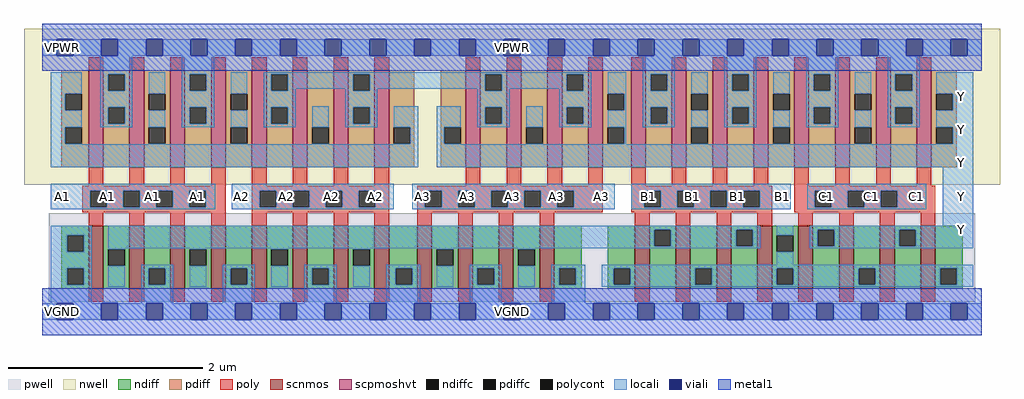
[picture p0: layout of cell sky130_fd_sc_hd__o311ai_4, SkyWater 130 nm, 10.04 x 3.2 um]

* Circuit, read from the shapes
.subckt sky130_fd_sc_hd__o311ai_4 A1 A2 A3 B1 C1 VGND VNB VPB VPWR Y
XM1 n1 A1 VGND VNB sky130_fd_pr__nfet_01v8 w=0.65 l=0.15 m=4
XM2 n1 A2 VGND VNB sky130_fd_pr__nfet_01v8 w=0.65 l=0.15 m=4
XM3 n1 A3 VGND VNB sky130_fd_pr__nfet_01v8 w=0.65 l=0.15 m=4
XM4 n1 B1 n2 VNB sky130_fd_pr__nfet_01v8 w=0.65 l=0.15 m=4
XM5 Y C1 n2 VNB sky130_fd_pr__nfet_01v8 w=0.65 l=0.15 m=4
XM6 VPWR A1 n3 VPB sky130_fd_pr__pfet_01v8_hvt w=1 l=0.15 m=4
XM7 n4 A2 n3 VPB sky130_fd_pr__pfet_01v8_hvt w=1 l=0.15 m=4
XM8 n4 A3 Y VPB sky130_fd_pr__pfet_01v8_hvt w=1 l=0.15 m=4
XM9 VPWR B1 Y VPB sky130_fd_pr__pfet_01v8_hvt w=1 l=0.15 m=4
XM10 VPWR C1 Y VPB sky130_fd_pr__pfet_01v8_hvt w=1 l=0.15 m=4
.ends

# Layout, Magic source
magic
tech sky130A
magscale 1 2
<< nwell >>
rect -38 261 1970 582
<< pwell >>
rect 13 21 1919 203
rect 25 -17 59 21
<< scnmos >>
rect 95 47 125 177
rect 179 47 209 177
rect 263 47 293 177
rect 347 47 377 177
rect 431 47 461 177
rect 515 47 545 177
rect 599 47 629 177
rect 683 47 713 177
rect 771 47 801 177
rect 855 47 885 177
rect 939 47 969 177
rect 1023 47 1053 177
rect 1219 47 1249 177
rect 1303 47 1333 177
rect 1387 47 1417 177
rect 1471 47 1501 177
rect 1555 47 1585 177
rect 1639 47 1669 177
rect 1723 47 1753 177
rect 1807 47 1837 177
<< scpmoshvt >>
rect 95 297 125 497
rect 179 297 209 497
rect 263 297 293 497
rect 347 297 377 497
rect 431 297 461 497
rect 515 297 545 497
rect 599 297 629 497
rect 683 297 713 497
rect 871 297 901 497
rect 955 297 985 497
rect 1039 297 1069 497
rect 1123 297 1153 497
rect 1211 297 1241 497
rect 1295 297 1325 497
rect 1379 297 1409 497
rect 1463 297 1493 497
rect 1547 297 1577 497
rect 1631 297 1661 497
rect 1715 297 1745 497
rect 1799 297 1829 497
<< ndiff >>
rect 39 157 95 177
rect 39 123 51 157
rect 85 123 95 157
rect 39 89 95 123
rect 39 55 51 89
rect 85 55 95 89
rect 39 47 95 55
rect 125 129 179 177
rect 125 95 135 129
rect 169 95 179 129
rect 125 47 179 95
rect 209 89 263 177
rect 209 55 219 89
rect 253 55 263 89
rect 209 47 263 55
rect 293 129 347 177
rect 293 95 303 129
rect 337 95 347 129
rect 293 47 347 95
rect 377 89 431 177
rect 377 55 387 89
rect 421 55 431 89
rect 377 47 431 55
rect 461 129 515 177
rect 461 95 471 129
rect 505 95 515 129
rect 461 47 515 95
rect 545 89 599 177
rect 545 55 555 89
rect 589 55 599 89
rect 545 47 599 55
rect 629 129 683 177
rect 629 95 639 129
rect 673 95 683 129
rect 629 47 683 95
rect 713 89 771 177
rect 713 55 727 89
rect 761 55 771 89
rect 713 47 771 55
rect 801 129 855 177
rect 801 95 811 129
rect 845 95 855 129
rect 801 47 855 95
rect 885 89 939 177
rect 885 55 895 89
rect 929 55 939 89
rect 885 47 939 55
rect 969 129 1023 177
rect 969 95 979 129
rect 1013 95 1023 129
rect 969 47 1023 95
rect 1053 89 1109 177
rect 1053 55 1063 89
rect 1097 55 1109 89
rect 1053 47 1109 55
rect 1163 89 1219 177
rect 1163 55 1175 89
rect 1209 55 1219 89
rect 1163 47 1219 55
rect 1249 169 1303 177
rect 1249 135 1259 169
rect 1293 135 1303 169
rect 1249 47 1303 135
rect 1333 89 1387 177
rect 1333 55 1343 89
rect 1377 55 1387 89
rect 1333 47 1387 55
rect 1417 169 1471 177
rect 1417 135 1427 169
rect 1461 135 1471 169
rect 1417 47 1471 135
rect 1501 157 1555 177
rect 1501 123 1511 157
rect 1545 123 1555 157
rect 1501 89 1555 123
rect 1501 55 1511 89
rect 1545 55 1555 89
rect 1501 47 1555 55
rect 1585 169 1639 177
rect 1585 135 1595 169
rect 1629 135 1639 169
rect 1585 47 1639 135
rect 1669 89 1723 177
rect 1669 55 1679 89
rect 1713 55 1723 89
rect 1669 47 1723 55
rect 1753 169 1807 177
rect 1753 135 1763 169
rect 1797 135 1807 169
rect 1753 47 1807 135
rect 1837 89 1893 177
rect 1837 55 1847 89
rect 1881 55 1893 89
rect 1837 47 1893 55
<< pdiff >>
rect 39 448 95 497
rect 39 414 47 448
rect 81 414 95 448
rect 39 380 95 414
rect 39 346 47 380
rect 81 346 95 380
rect 39 297 95 346
rect 125 489 179 497
rect 125 455 135 489
rect 169 455 179 489
rect 125 421 179 455
rect 125 387 135 421
rect 169 387 179 421
rect 125 297 179 387
rect 209 448 263 497
rect 209 414 219 448
rect 253 414 263 448
rect 209 380 263 414
rect 209 346 219 380
rect 253 346 263 380
rect 209 297 263 346
rect 293 489 347 497
rect 293 455 303 489
rect 337 455 347 489
rect 293 421 347 455
rect 293 387 303 421
rect 337 387 347 421
rect 293 297 347 387
rect 377 448 431 497
rect 377 414 387 448
rect 421 414 431 448
rect 377 380 431 414
rect 377 346 387 380
rect 421 346 431 380
rect 377 297 431 346
rect 461 489 515 497
rect 461 455 471 489
rect 505 455 515 489
rect 461 421 515 455
rect 461 387 471 421
rect 505 387 515 421
rect 461 297 515 387
rect 545 380 599 497
rect 545 346 555 380
rect 589 346 599 380
rect 545 297 599 346
rect 629 489 683 497
rect 629 455 639 489
rect 673 455 683 489
rect 629 421 683 455
rect 629 387 639 421
rect 673 387 683 421
rect 629 297 683 387
rect 713 380 765 497
rect 713 346 723 380
rect 757 346 765 380
rect 713 297 765 346
rect 819 380 871 497
rect 819 346 827 380
rect 861 346 871 380
rect 819 297 871 346
rect 901 489 955 497
rect 901 455 911 489
rect 945 455 955 489
rect 901 421 955 455
rect 901 387 911 421
rect 945 387 955 421
rect 901 297 955 387
rect 985 380 1039 497
rect 985 346 995 380
rect 1029 346 1039 380
rect 985 297 1039 346
rect 1069 489 1123 497
rect 1069 455 1079 489
rect 1113 455 1123 489
rect 1069 421 1123 455
rect 1069 387 1079 421
rect 1113 387 1123 421
rect 1069 297 1123 387
rect 1153 448 1211 497
rect 1153 414 1163 448
rect 1197 414 1211 448
rect 1153 380 1211 414
rect 1153 346 1163 380
rect 1197 346 1211 380
rect 1153 297 1211 346
rect 1241 489 1295 497
rect 1241 455 1251 489
rect 1285 455 1295 489
rect 1241 421 1295 455
rect 1241 387 1251 421
rect 1285 387 1295 421
rect 1241 297 1295 387
rect 1325 448 1379 497
rect 1325 414 1335 448
rect 1369 414 1379 448
rect 1325 380 1379 414
rect 1325 346 1335 380
rect 1369 346 1379 380
rect 1325 297 1379 346
rect 1409 489 1463 497
rect 1409 455 1419 489
rect 1453 455 1463 489
rect 1409 421 1463 455
rect 1409 387 1419 421
rect 1453 387 1463 421
rect 1409 297 1463 387
rect 1493 448 1547 497
rect 1493 414 1503 448
rect 1537 414 1547 448
rect 1493 380 1547 414
rect 1493 346 1503 380
rect 1537 346 1547 380
rect 1493 297 1547 346
rect 1577 489 1631 497
rect 1577 455 1587 489
rect 1621 455 1631 489
rect 1577 421 1631 455
rect 1577 387 1587 421
rect 1621 387 1631 421
rect 1577 297 1631 387
rect 1661 448 1715 497
rect 1661 414 1671 448
rect 1705 414 1715 448
rect 1661 380 1715 414
rect 1661 346 1671 380
rect 1705 346 1715 380
rect 1661 297 1715 346
rect 1745 489 1799 497
rect 1745 455 1755 489
rect 1789 455 1799 489
rect 1745 421 1799 455
rect 1745 387 1755 421
rect 1789 387 1799 421
rect 1745 297 1799 387
rect 1829 448 1881 497
rect 1829 414 1839 448
rect 1873 414 1881 448
rect 1829 380 1881 414
rect 1829 346 1839 380
rect 1873 346 1881 380
rect 1829 297 1881 346
<< ndiffc >>
rect 51 123 85 157
rect 51 55 85 89
rect 135 95 169 129
rect 219 55 253 89
rect 303 95 337 129
rect 387 55 421 89
rect 471 95 505 129
rect 555 55 589 89
rect 639 95 673 129
rect 727 55 761 89
rect 811 95 845 129
rect 895 55 929 89
rect 979 95 1013 129
rect 1063 55 1097 89
rect 1175 55 1209 89
rect 1259 135 1293 169
rect 1343 55 1377 89
rect 1427 135 1461 169
rect 1511 123 1545 157
rect 1511 55 1545 89
rect 1595 135 1629 169
rect 1679 55 1713 89
rect 1763 135 1797 169
rect 1847 55 1881 89
<< pdiffc >>
rect 47 414 81 448
rect 47 346 81 380
rect 135 455 169 489
rect 135 387 169 421
rect 219 414 253 448
rect 219 346 253 380
rect 303 455 337 489
rect 303 387 337 421
rect 387 414 421 448
rect 387 346 421 380
rect 471 455 505 489
rect 471 387 505 421
rect 555 346 589 380
rect 639 455 673 489
rect 639 387 673 421
rect 723 346 757 380
rect 827 346 861 380
rect 911 455 945 489
rect 911 387 945 421
rect 995 346 1029 380
rect 1079 455 1113 489
rect 1079 387 1113 421
rect 1163 414 1197 448
rect 1163 346 1197 380
rect 1251 455 1285 489
rect 1251 387 1285 421
rect 1335 414 1369 448
rect 1335 346 1369 380
rect 1419 455 1453 489
rect 1419 387 1453 421
rect 1503 414 1537 448
rect 1503 346 1537 380
rect 1587 455 1621 489
rect 1587 387 1621 421
rect 1671 414 1705 448
rect 1671 346 1705 380
rect 1755 455 1789 489
rect 1755 387 1789 421
rect 1839 414 1873 448
rect 1839 346 1873 380
<< poly >>
rect 95 497 125 523
rect 179 497 209 523
rect 263 497 293 523
rect 347 497 377 523
rect 431 497 461 523
rect 515 497 545 523
rect 599 497 629 523
rect 683 497 713 523
rect 871 497 901 523
rect 955 497 985 523
rect 1039 497 1069 523
rect 1123 497 1153 523
rect 1211 497 1241 523
rect 1295 497 1325 523
rect 1379 497 1409 523
rect 1463 497 1493 523
rect 1547 497 1577 523
rect 1631 497 1661 523
rect 1715 497 1745 523
rect 1799 497 1829 523
rect 95 259 125 297
rect 179 259 209 297
rect 263 259 293 297
rect 347 259 377 297
rect 82 249 377 259
rect 82 215 98 249
rect 132 215 166 249
rect 200 215 234 249
rect 268 215 302 249
rect 336 215 377 249
rect 82 205 377 215
rect 95 177 125 205
rect 179 177 209 205
rect 263 177 293 205
rect 347 177 377 205
rect 431 259 461 297
rect 515 259 545 297
rect 599 259 629 297
rect 683 259 713 297
rect 871 259 901 297
rect 955 259 985 297
rect 1039 259 1069 297
rect 1123 259 1153 297
rect 431 249 713 259
rect 431 215 447 249
rect 481 215 515 249
rect 549 215 583 249
rect 617 215 651 249
rect 685 215 713 249
rect 431 205 713 215
rect 431 177 461 205
rect 515 177 545 205
rect 599 177 629 205
rect 683 177 713 205
rect 771 249 1153 259
rect 771 215 787 249
rect 821 215 855 249
rect 889 215 923 249
rect 957 215 991 249
rect 1025 215 1059 249
rect 1093 215 1153 249
rect 771 205 1153 215
rect 1211 259 1241 297
rect 1295 259 1325 297
rect 1379 259 1409 297
rect 1463 259 1493 297
rect 1547 259 1577 297
rect 1631 259 1661 297
rect 1715 259 1745 297
rect 1799 259 1829 297
rect 1211 249 1501 259
rect 1211 215 1238 249
rect 1272 215 1306 249
rect 1340 215 1374 249
rect 1408 215 1442 249
rect 1476 215 1501 249
rect 1211 205 1501 215
rect 1547 249 1837 259
rect 1547 215 1589 249
rect 1623 215 1657 249
rect 1691 215 1725 249
rect 1759 215 1837 249
rect 1547 205 1837 215
rect 771 177 801 205
rect 855 177 885 205
rect 939 177 969 205
rect 1023 177 1053 205
rect 1219 177 1249 205
rect 1303 177 1333 205
rect 1387 177 1417 205
rect 1471 177 1501 205
rect 1555 177 1585 205
rect 1639 177 1669 205
rect 1723 177 1753 205
rect 1807 177 1837 205
rect 95 21 125 47
rect 179 21 209 47
rect 263 21 293 47
rect 347 21 377 47
rect 431 21 461 47
rect 515 21 545 47
rect 599 21 629 47
rect 683 21 713 47
rect 771 21 801 47
rect 855 21 885 47
rect 939 21 969 47
rect 1023 21 1053 47
rect 1219 21 1249 47
rect 1303 21 1333 47
rect 1387 21 1417 47
rect 1471 21 1501 47
rect 1555 21 1585 47
rect 1639 21 1669 47
rect 1723 21 1753 47
rect 1807 21 1837 47
<< polycont >>
rect 98 215 132 249
rect 166 215 200 249
rect 234 215 268 249
rect 302 215 336 249
rect 447 215 481 249
rect 515 215 549 249
rect 583 215 617 249
rect 651 215 685 249
rect 787 215 821 249
rect 855 215 889 249
rect 923 215 957 249
rect 991 215 1025 249
rect 1059 215 1093 249
rect 1238 215 1272 249
rect 1306 215 1340 249
rect 1374 215 1408 249
rect 1442 215 1476 249
rect 1589 215 1623 249
rect 1657 215 1691 249
rect 1725 215 1759 249
<< locali >>
rect 0 527 29 561
rect 63 527 121 561
rect 155 527 213 561
rect 247 527 305 561
rect 339 527 397 561
rect 431 527 489 561
rect 523 527 581 561
rect 615 527 673 561
rect 707 527 765 561
rect 799 527 857 561
rect 891 527 949 561
rect 983 527 1041 561
rect 1075 527 1133 561
rect 1167 527 1225 561
rect 1259 527 1317 561
rect 1351 527 1409 561
rect 1443 527 1501 561
rect 1535 527 1593 561
rect 1627 527 1685 561
rect 1719 527 1777 561
rect 1811 527 1869 561
rect 1903 527 1932 561
rect 17 448 81 493
rect 17 414 47 448
rect 17 380 81 414
rect 17 346 47 380
rect 119 489 185 527
rect 119 455 135 489
rect 169 455 185 489
rect 119 421 185 455
rect 119 387 135 421
rect 169 387 185 421
rect 119 379 185 387
rect 219 448 253 493
rect 219 380 253 414
rect 17 345 81 346
rect 287 489 353 527
rect 287 455 303 489
rect 337 455 353 489
rect 287 421 353 455
rect 287 387 303 421
rect 337 387 353 421
rect 287 379 353 387
rect 387 448 421 493
rect 387 380 421 414
rect 219 345 253 346
rect 455 489 1129 493
rect 455 455 471 489
rect 505 459 639 489
rect 505 455 521 459
rect 455 421 521 455
rect 623 455 639 459
rect 673 459 911 489
rect 673 455 689 459
rect 455 387 471 421
rect 505 387 521 421
rect 455 379 521 387
rect 555 380 589 423
rect 387 345 421 346
rect 623 421 689 455
rect 895 455 911 459
rect 945 459 1079 489
rect 945 455 961 459
rect 623 387 639 421
rect 673 387 689 421
rect 623 379 689 387
rect 723 380 773 423
rect 555 345 589 346
rect 757 346 773 380
rect 723 345 773 346
rect 17 297 773 345
rect 811 380 861 423
rect 811 346 827 380
rect 895 421 961 455
rect 1063 455 1079 459
rect 1113 455 1129 489
rect 895 387 911 421
rect 945 387 961 421
rect 895 379 961 387
rect 995 380 1029 423
rect 811 345 861 346
rect 1063 421 1129 455
rect 1063 387 1079 421
rect 1113 387 1129 421
rect 1063 379 1129 387
rect 1163 448 1201 493
rect 1197 414 1201 448
rect 1163 380 1201 414
rect 995 345 1029 346
rect 1197 346 1201 380
rect 1235 489 1301 527
rect 1235 455 1251 489
rect 1285 455 1301 489
rect 1235 421 1301 455
rect 1235 387 1251 421
rect 1285 387 1301 421
rect 1235 379 1301 387
rect 1335 448 1369 493
rect 1335 380 1369 414
rect 1163 345 1201 346
rect 1403 489 1469 527
rect 1403 455 1419 489
rect 1453 455 1469 489
rect 1403 421 1469 455
rect 1403 387 1419 421
rect 1453 387 1469 421
rect 1403 379 1469 387
rect 1503 448 1537 493
rect 1503 380 1537 414
rect 1335 345 1369 346
rect 1571 489 1637 527
rect 1571 455 1587 489
rect 1621 455 1637 489
rect 1571 421 1637 455
rect 1571 387 1587 421
rect 1621 387 1637 421
rect 1571 379 1637 387
rect 1671 448 1705 493
rect 1671 380 1705 414
rect 1503 345 1537 346
rect 1739 489 1805 527
rect 1739 455 1755 489
rect 1789 455 1805 489
rect 1739 421 1805 455
rect 1739 387 1755 421
rect 1789 387 1805 421
rect 1739 379 1805 387
rect 1839 448 1915 493
rect 1873 414 1915 448
rect 1839 380 1915 414
rect 1671 345 1705 346
rect 1873 346 1915 380
rect 1839 345 1915 346
rect 811 297 1915 345
rect 17 249 355 263
rect 17 215 98 249
rect 132 215 166 249
rect 200 215 234 249
rect 268 215 302 249
rect 336 215 355 249
rect 17 211 355 215
rect 389 249 723 263
rect 389 215 447 249
rect 481 215 515 249
rect 549 215 583 249
rect 617 215 651 249
rect 685 215 723 249
rect 389 211 723 215
rect 761 249 1177 263
rect 761 215 787 249
rect 821 215 855 249
rect 889 215 923 249
rect 957 215 991 249
rect 1025 215 1059 249
rect 1093 215 1177 249
rect 761 211 1177 215
rect 1211 249 1539 263
rect 1211 215 1238 249
rect 1272 215 1306 249
rect 1340 215 1374 249
rect 1408 215 1442 249
rect 1476 215 1539 249
rect 1211 211 1539 215
rect 1573 249 1818 263
rect 1573 215 1589 249
rect 1623 215 1657 249
rect 1691 215 1725 249
rect 1759 215 1818 249
rect 1573 211 1818 215
rect 1852 177 1915 297
rect 17 157 101 177
rect 17 123 51 157
rect 85 123 101 157
rect 17 89 101 123
rect 17 55 51 89
rect 85 55 101 89
rect 17 17 101 55
rect 135 169 1477 177
rect 135 135 1259 169
rect 1293 135 1427 169
rect 1461 135 1477 169
rect 135 131 1477 135
rect 1511 157 1545 177
rect 135 129 169 131
rect 303 129 337 131
rect 135 51 169 95
rect 203 89 269 97
rect 203 55 219 89
rect 253 55 269 89
rect 203 17 269 55
rect 471 129 505 131
rect 303 51 337 95
rect 371 89 437 97
rect 371 55 387 89
rect 421 55 437 89
rect 371 17 437 55
rect 639 129 673 131
rect 471 51 505 95
rect 539 89 605 97
rect 539 55 555 89
rect 589 55 605 89
rect 539 17 605 55
rect 811 129 845 131
rect 639 51 673 95
rect 707 89 777 97
rect 707 55 727 89
rect 761 55 777 89
rect 707 17 777 55
rect 979 129 1013 131
rect 811 51 845 95
rect 879 89 945 97
rect 879 55 895 89
rect 929 55 945 89
rect 879 17 945 55
rect 1579 169 1915 177
rect 1579 135 1595 169
rect 1629 135 1763 169
rect 1797 135 1915 169
rect 1579 131 1915 135
rect 1511 97 1545 123
rect 979 51 1013 95
rect 1047 89 1117 97
rect 1047 55 1063 89
rect 1097 55 1117 89
rect 1047 17 1117 55
rect 1151 89 1915 97
rect 1151 55 1175 89
rect 1209 55 1343 89
rect 1377 55 1511 89
rect 1545 55 1679 89
rect 1713 55 1847 89
rect 1881 55 1915 89
rect 1151 51 1915 55
rect 0 -17 29 17
rect 63 -17 121 17
rect 155 -17 213 17
rect 247 -17 305 17
rect 339 -17 397 17
rect 431 -17 489 17
rect 523 -17 581 17
rect 615 -17 673 17
rect 707 -17 765 17
rect 799 -17 857 17
rect 891 -17 949 17
rect 983 -17 1041 17
rect 1075 -17 1133 17
rect 1167 -17 1225 17
rect 1259 -17 1317 17
rect 1351 -17 1409 17
rect 1443 -17 1501 17
rect 1535 -17 1593 17
rect 1627 -17 1685 17
rect 1719 -17 1777 17
rect 1811 -17 1869 17
rect 1903 -17 1932 17
<< viali >>
rect 29 527 63 561
rect 121 527 155 561
rect 213 527 247 561
rect 305 527 339 561
rect 397 527 431 561
rect 489 527 523 561
rect 581 527 615 561
rect 673 527 707 561
rect 765 527 799 561
rect 857 527 891 561
rect 949 527 983 561
rect 1041 527 1075 561
rect 1133 527 1167 561
rect 1225 527 1259 561
rect 1317 527 1351 561
rect 1409 527 1443 561
rect 1501 527 1535 561
rect 1593 527 1627 561
rect 1685 527 1719 561
rect 1777 527 1811 561
rect 1869 527 1903 561
rect 29 -17 63 17
rect 121 -17 155 17
rect 213 -17 247 17
rect 305 -17 339 17
rect 397 -17 431 17
rect 489 -17 523 17
rect 581 -17 615 17
rect 673 -17 707 17
rect 765 -17 799 17
rect 857 -17 891 17
rect 949 -17 983 17
rect 1041 -17 1075 17
rect 1133 -17 1167 17
rect 1225 -17 1259 17
rect 1317 -17 1351 17
rect 1409 -17 1443 17
rect 1501 -17 1535 17
rect 1593 -17 1627 17
rect 1685 -17 1719 17
rect 1777 -17 1811 17
rect 1869 -17 1903 17
<< metal1 >>
rect 0 561 1932 592
rect 0 527 29 561
rect 63 527 121 561
rect 155 527 213 561
rect 247 527 305 561
rect 339 527 397 561
rect 431 527 489 561
rect 523 527 581 561
rect 615 527 673 561
rect 707 527 765 561
rect 799 527 857 561
rect 891 527 949 561
rect 983 527 1041 561
rect 1075 527 1133 561
rect 1167 527 1225 561
rect 1259 527 1317 561
rect 1351 527 1409 561
rect 1443 527 1501 561
rect 1535 527 1593 561
rect 1627 527 1685 561
rect 1719 527 1777 561
rect 1811 527 1869 561
rect 1903 527 1932 561
rect 0 496 1932 527
rect 0 17 1932 48
rect 0 -17 29 17
rect 63 -17 121 17
rect 155 -17 213 17
rect 247 -17 305 17
rect 339 -17 397 17
rect 431 -17 489 17
rect 523 -17 581 17
rect 615 -17 673 17
rect 707 -17 765 17
rect 799 -17 857 17
rect 891 -17 949 17
rect 983 -17 1041 17
rect 1075 -17 1133 17
rect 1167 -17 1225 17
rect 1259 -17 1317 17
rect 1351 -17 1409 17
rect 1443 -17 1501 17
rect 1535 -17 1593 17
rect 1627 -17 1685 17
rect 1719 -17 1777 17
rect 1811 -17 1869 17
rect 1903 -17 1932 17
rect 0 -48 1932 -17
<< labels >>
flabel locali s 1873 425 1907 459 0 FreeSans 200 0 0 0 Y
port 10 nsew signal output
flabel locali s 1873 357 1907 391 0 FreeSans 200 0 0 0 Y
port 10 nsew signal output
flabel locali s 1873 289 1907 323 0 FreeSans 200 0 0 0 Y
port 10 nsew signal output
flabel locali s 1873 153 1907 187 0 FreeSans 200 0 0 0 Y
port 10 nsew signal output
flabel locali s 1873 221 1907 255 0 FreeSans 200 0 0 0 Y
port 10 nsew signal output
flabel locali s 1781 221 1815 255 0 FreeSans 200 0 0 0 C1
port 5 nsew signal input
flabel locali s 1689 221 1723 255 0 FreeSans 200 0 0 0 C1
port 5 nsew signal input
flabel locali s 1597 221 1631 255 0 FreeSans 200 0 0 0 C1
port 5 nsew signal input
flabel locali s 1505 221 1539 255 0 FreeSans 200 0 0 0 B1
port 4 nsew signal input
flabel locali s 1413 221 1447 255 0 FreeSans 200 0 0 0 B1
port 4 nsew signal input
flabel locali s 1321 221 1355 255 0 FreeSans 200 0 0 0 B1
port 4 nsew signal input
flabel locali s 1229 221 1263 255 0 FreeSans 200 0 0 0 B1
port 4 nsew signal input
flabel locali s 1133 221 1167 255 0 FreeSans 200 0 0 0 A3
port 3 nsew signal input
flabel locali s 1041 221 1075 255 0 FreeSans 200 0 0 0 A3
port 3 nsew signal input
flabel locali s 949 221 983 255 0 FreeSans 200 0 0 0 A3
port 3 nsew signal input
flabel locali s 857 221 891 255 0 FreeSans 200 0 0 0 A3
port 3 nsew signal input
flabel locali s 765 221 799 255 0 FreeSans 200 0 0 0 A3
port 3 nsew signal input
flabel locali s 669 221 703 255 0 FreeSans 200 0 0 0 A2
port 2 nsew signal input
flabel locali s 577 221 611 255 0 FreeSans 200 0 0 0 A2
port 2 nsew signal input
flabel locali s 485 221 519 255 0 FreeSans 200 0 0 0 A2
port 2 nsew signal input
flabel locali s 393 221 427 255 0 FreeSans 200 0 0 0 A2
port 2 nsew signal input
flabel locali s 301 221 335 255 0 FreeSans 200 0 0 0 A1
port 1 nsew signal input
flabel locali s 209 221 243 255 0 FreeSans 200 0 0 0 A1
port 1 nsew signal input
flabel locali s 117 221 151 255 0 FreeSans 200 0 0 0 A1
port 1 nsew signal input
flabel locali s 25 221 59 255 0 FreeSans 200 0 0 0 A1
port 1 nsew signal input
flabel metal1 s 25 -17 59 17 0 FreeSans 200 0 0 0 VGND
port 6 nsew ground bidirectional abutment
flabel metal1 s 25 527 59 561 0 FreeSans 200 0 0 0 VPWR
port 9 nsew power bidirectional abutment
flabel nwell s 25 527 59 561 0 FreeSans 200 0 0 0 VPB
port 8 nsew power bidirectional
flabel pwell s 25 -17 59 17 0 FreeSans 200 0 0 0 VNB
port 7 nsew ground bidirectional
rlabel comment s 0 0 0 0 4 o311ai_4
rlabel metal1 s 0 -48 1932 48 1 VGND
port 6 nsew ground bidirectional abutment
rlabel metal1 s 0 496 1932 592 1 VPWR
port 9 nsew power bidirectional abutment
<< properties >>
string FIXED_BBOX 0 0 1932 544
string GDS_END 891734
string GDS_FILE $PDKPATH/libs.ref/sky130_fd_sc_hd/gds/sky130_fd_sc_hd.gds
string GDS_START 875882
string LEFclass CORE
string LEFsite unithd
string LEFsymmetry X Y R90
string path 0.000 0.000 9.660 0.000 
<< end >>
